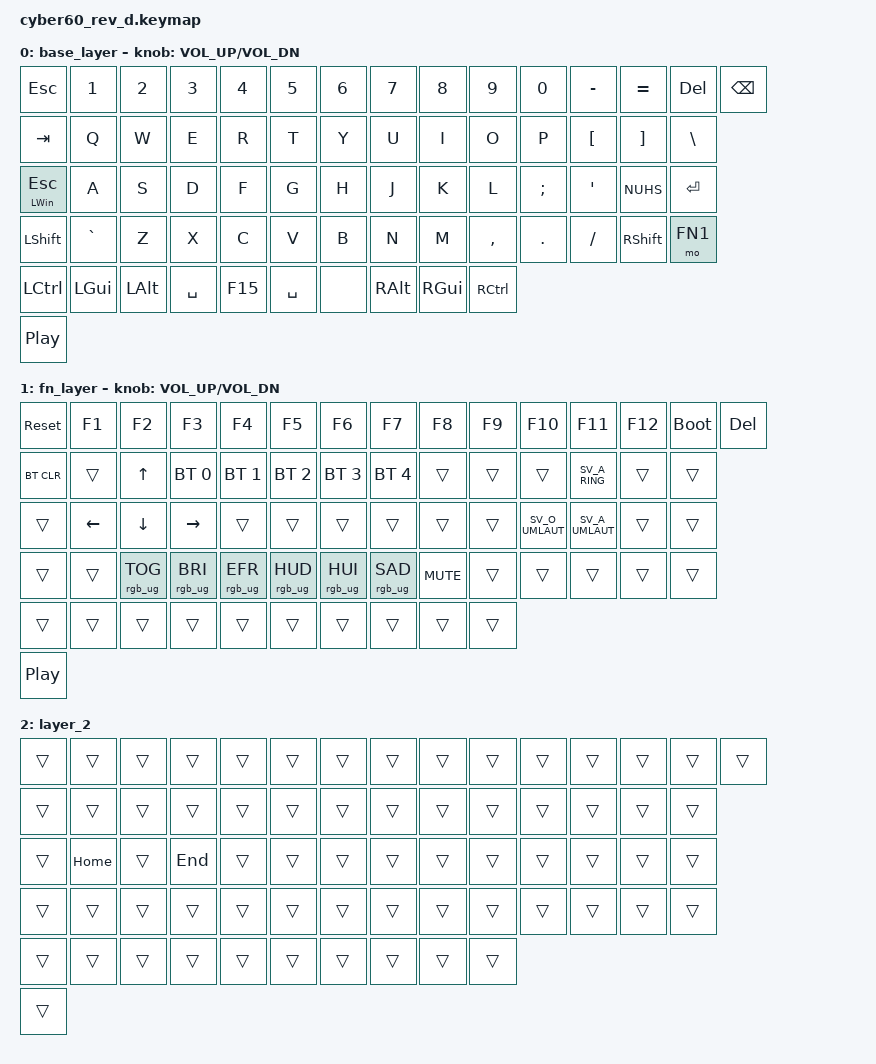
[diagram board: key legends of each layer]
#include <behaviors.dtsi>
#include "keys_sv.h"
#include <dt-bindings/zmk/bt.h>
#include <dt-bindings/zmk/keys.h>
#include <dt-bindings/zmk/rgb.h>

#define FN1 1

/ {
    keymap {
        compatible = "zmk,keymap";

        base_layer {
            // Base layer
            // ------------------------------------------------------------------------------------------
            // | ESC |  1  |  2  |  3  |  4  |  5  |  6  |  7  |  8  |  9  |  0  |  -  |  =  |   BKSP   |
            // |  TAB |  Q  |  W  |  E  |  R  |  T  |  Y  |  U  |  I  |  O  |  P  |  [  |  ]  |   "|"   |
            // | CAPS  |  A  |  S  |  D  |  F  |  G  |  H  |  J  |  K  |  L  |  ;  |  '  |NUHS| ENTER   |
            // | SHIFT |NUBS| Z |  X  |  C  |  V  |  B  |  N  |  M  |  ,  |  .  |  /  |    Shift   | FN |
            // |  LCTL  |  LWIN  |  LALT  | SPACE  | SPACE |    SPACE   |  RALT | FN  |   RWIN  | RCTRL |
            // | Rotary | (<-- Rotary switch) ----------------------------------------------------------- 

            bindings = <
&kp ESC           &kp N1     &kp N2    &kp N3     &kp N4   &kp N5     &kp N6  &kp N7         &kp N8    &kp N9     &kp N0    &kp MINUS  &kp EQUAL  &kp DELETE  &kp BSPC
&kp TAB           &kp Q      &kp W     &kp E      &kp R    &kp T      &kp Y   &kp U          &kp I     &kp O      &kp P     &kp LBKT   &kp RBKT   &kp BSLH
&mt LEFT_WIN ESC  &kp A      &kp S     &kp D      &kp F    &kp G      &kp H   &kp J          &kp K     &kp L      &kp SEMI  &kp SQT    &kp NUHS   &kp RET
&kp LSHFT         &kp GRAVE  &kp Z     &kp X      &kp C    &kp V      &kp B   &kp N          &kp M     &kp COMMA  &kp DOT   &kp FSLH   &kp RSHFT  &mo FN1
&kp LCTRL         &kp LGUI   &kp LALT  &kp SPACE  &kp F15  &kp SPACE  &none   &kp RIGHT_ALT  &kp RGUI  &kp RCTRL
&kp C_PP
            >;

            sensor-bindings = <&inc_dec_kp C_VOL_UP C_VOL_DN>;
        };

        fn_layer {
            // Function layer
            // ------------------------------------------------------------------------------------------
            // | RESET | F1 |  F2 |  F3 |  F4 |  F5 |  F6 |  F7 |  F8 |  F9 | F10 | F11 | F12 |TRNS | DEL |
            // |BT_CLR |TRNS | UP  | BT0 | BT1 | BT2 | BT3 | BT4 | TRNS | TRNS | TRNS | TRNS | TRNS | TRNS|
            // | BOOTL  |LEFT |DOWN |RIGHT|TRNS |TRNS |TRNS | TRNS| TRNS |TRNS| TRNS |TRNS | TRNS | TRNS  |
            // | TRNS |TRNS|TRNS|TRNS|TRNS | TRNS| TRNS | TRNS |  TRNS| TRNS | TRNS| TRNS |   TRNS   |TRNS|
            // |  TRNS | TRNS | TRNS |      TRNS      | TRNS |     TRNS     |  TRNS |  TRNS | TRNS | TRNS |
            // | Rotary | (<-- Rotary switch) ----------------------------------------------------------- 

            bindings = <
&sys_reset  &kp F1    &kp F2           &kp F3           &kp F4           &kp F5           &kp F6           &kp F7           &kp F8      &kp F9  &kp F10          &kp F11          &kp F12  &bootloader  &kp DEL
&bt BT_CLR  &trans    &kp UP           &bt BT_SEL 0     &bt BT_SEL 1     &bt BT_SEL 2     &bt BT_SEL 3     &bt BT_SEL 4     &trans      &trans  &trans           &kp SV_A_RING    &trans   &trans
&trans      &kp LEFT  &kp DOWN         &kp RIGHT        &trans           &trans           &trans           &trans           &trans      &trans  &kp SV_O_UMLAUT  &kp SV_A_UMLAUT  &trans   &trans
&trans      &trans    &rgb_ug RGB_TOG  &rgb_ug RGB_BRI  &rgb_ug RGB_EFR  &rgb_ug RGB_HUD  &rgb_ug RGB_HUI  &rgb_ug RGB_SAD  &kp K_MUTE  &trans  &trans           &trans           &trans   &trans
&trans      &trans    &trans           &trans           &trans           &trans           &trans           &trans           &trans      &trans
&kp C_PP
            >;

            sensor-bindings = <&inc_dec_kp C_VOL_UP C_VOL_DN>;
        };

        layer_2 {
            bindings = <
&trans  &trans    &trans  &trans   &trans  &trans  &trans  &trans  &trans  &trans  &trans  &trans  &trans  &trans  &trans
&trans  &trans    &trans  &trans   &trans  &trans  &trans  &trans  &trans  &trans  &trans  &trans  &trans  &trans
&trans  &kp HOME  &trans  &kp END  &trans  &trans  &trans  &trans  &trans  &trans  &trans  &trans  &trans  &trans
&trans  &trans    &trans  &trans   &trans  &trans  &trans  &trans  &trans  &trans  &trans  &trans  &trans  &trans
&trans  &trans    &trans  &trans   &trans  &trans  &trans  &trans  &trans  &trans
&trans
            >;
        };
    };
};
